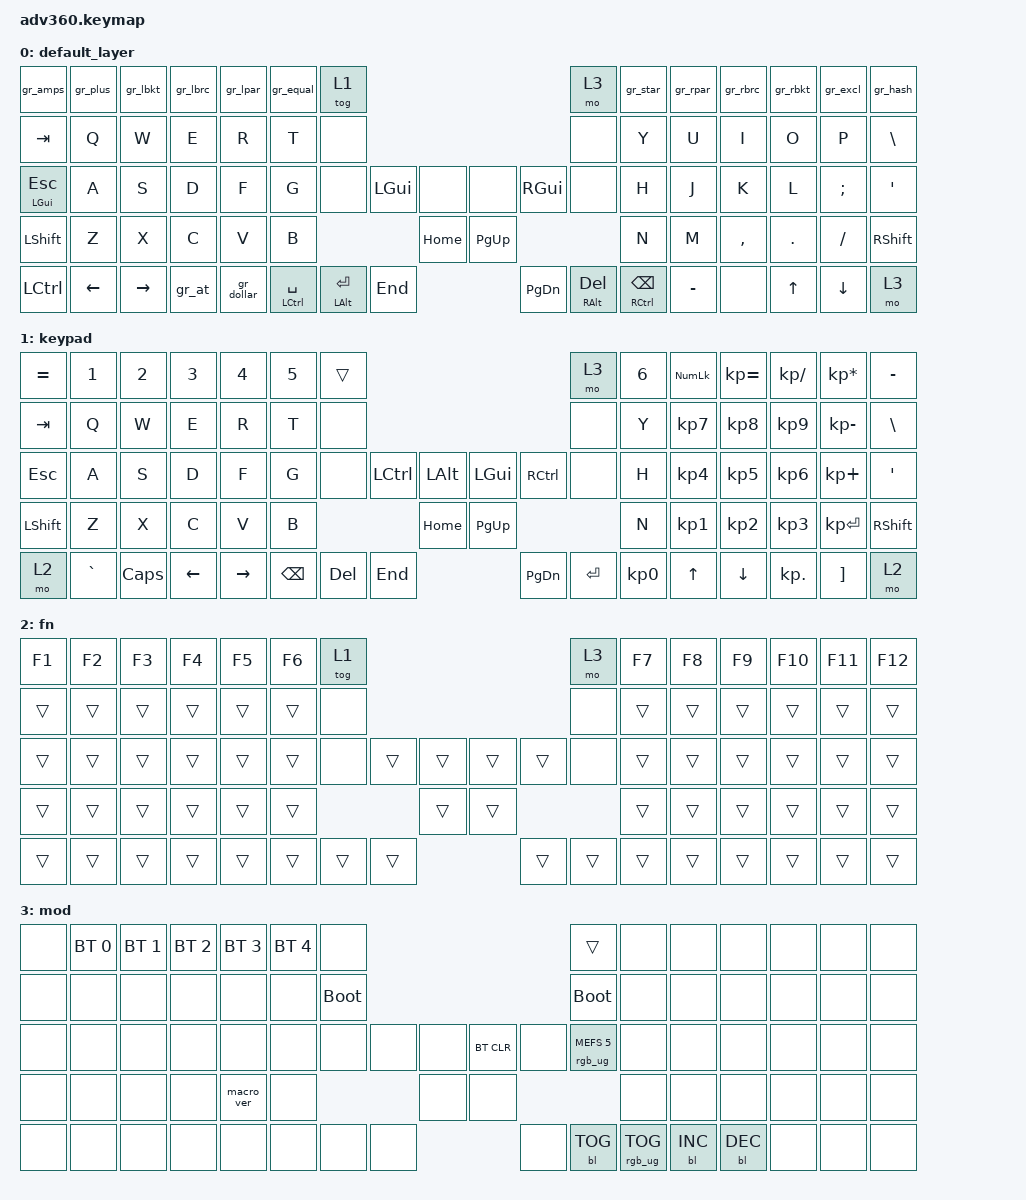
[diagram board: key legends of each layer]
#include <behaviors.dtsi>
#include <dt-bindings/zmk/keys.h>
#include <dt-bindings/zmk/bt.h>
#include <dt-bindings/zmk/rgb.h>
#include <dt-bindings/zmk/backlight.h>

/ {
  behaviors {
#include "macros.dtsi"
#include "version.dtsi"
#ifndef VERSION_MACRO
macro_ver: macro_ver {
  compatible = "zmk,behavior-macro";
  label = "macro_version";
  #binding-cells = <0>;
  bindings = <&kp RET>;
};
#endif

hm: homerow_mods {
  compatible = "zmk,behavior-hold-tap";
  label = "HOMEROW_MODS";
  #binding-cells = <2>;
  tapping-term-ms = <200>;
  quick_tap_ms = <175>;
  flavor = "tap-preferred";
  bindings = <&kp>, <&kp>;
};

/* Left side */

gr_amps: grave_ampersand {
  compatible = "zmk,behavior-mod-morph";
  #binding-cells = <0>;
  bindings = <&kp AMPS>, <&kp PERCENT>;
  mods = <(MOD_LSFT|MOD_RSFT)>;
};

gr_plus: grave_plus {
  compatible = "zmk,behavior-mod-morph";
  #binding-cells = <0>;
  bindings = <&kp PLUS>, <&kp NUMBER_7>;
  mods = <(MOD_LSFT|MOD_RSFT)>;
};

gr_lbkt: grave_left_bracket {
  compatible = "zmk,behavior-mod-morph";
  #binding-cells = <0>;
  bindings = <&kp LBKT>, <&kp NUMBER_5>;
  mods = <(MOD_LSFT|MOD_RSFT)>;
};

gr_lbrc: grave_left_brace {
  compatible = "zmk,behavior-mod-morph";
  #binding-cells = <0>;
  bindings = <&kp LBRC>, <&kp NUMBER_3>;
  mods = <(MOD_LSFT|MOD_RSFT)>;
};

gr_lpar: grave_left_parenthesis {
  compatible = "zmk,behavior-mod-morph";
  #binding-cells = <0>;
  bindings = <&kp LPAR>, <&kp NUMBER_1>;
  mods = <(MOD_LSFT|MOD_RSFT)>;
};

gr_equal: grave_equal {
  compatible = "zmk,behavior-mod-morph";
  #binding-cells = <0>;
  bindings = <&kp EQUAL>, <&kp NUMBER_9>;
  mods = <(MOD_LSFT|MOD_RSFT)>;
};

/* Right side */

gr_star: grave_star {
  compatible = "zmk,behavior-mod-morph";
  #binding-cells = <0>;
  bindings = <&kp STAR>, <&kp NUMBER_0>;
  mods = <(MOD_LSFT|MOD_RSFT)>;
};

gr_rpar: grave_right_parenthesis {
  compatible = "zmk,behavior-mod-morph";
  #binding-cells = <0>;
  bindings = <&kp RPAR>, <&kp NUMBER_2>;
  mods = <(MOD_LSFT|MOD_RSFT)>;
};

gr_rbrc: grave_right_brace {
  compatible = "zmk,behavior-mod-morph";
  #binding-cells = <0>;
  bindings = <&kp RBRC>, <&kp NUMBER_4>;
  mods = <(MOD_LSFT|MOD_RSFT)>;
};

gr_rbkt: grave_right_bracket {
  compatible = "zmk,behavior-mod-morph";
  #binding-cells = <0>;
  bindings = <&kp RBKT>, <&kp NUMBER_6>;
  mods = <(MOD_LSFT|MOD_RSFT)>;
};

gr_excl: grave_exclamation {
  compatible = "zmk,behavior-mod-morph";
  #binding-cells = <0>;
  bindings = <&kp EXCL>, <&kp NUMBER_8>;
  mods = <(MOD_LSFT|MOD_RSFT)>;
};

gr_hash: grave_hash {
  compatible = "zmk,behavior-mod-morph";
  #binding-cells = <0>;
  bindings = <&kp HASH>, <&kp GRAVE>;
  mods = <(MOD_LSFT|MOD_RSFT)>;
};

/* Others */

gr_dollar: grave_dollar {
  compatible = "zmk,behavior-mod-morph";
  #binding-cells = <0>;
  bindings = <&kp DOLLAR>, <&kp TILDE>;
  mods = <(MOD_LSFT|MOD_RSFT)>;
};

gr_at: grave_at {
  compatible = "zmk,behavior-mod-morph";
  #binding-cells = <0>;
  bindings = <&kp AT_SIGN>, <&kp CARET>;
  mods = <(MOD_LSFT|MOD_RSFT)>;
};

  };

  keymap {
    compatible = "zmk,keymap";

    default_layer {
      bindings = <
        &gr_amps      &gr_plus      &gr_lbkt     &gr_lbrc     &gr_lpar   &gr_equal  &tog 1                                                                                &mo 3     &gr_star   &gr_rpar   &gr_rbrc      &gr_rbkt     &gr_excl     &gr_hash
        &kp TAB       &kp Q         &kp W        &kp E        &kp R      &kp T      &none                                                                                 &none     &kp Y      &kp U      &kp I         &kp O        &kp P        &kp BSLH
        &mt LGUI ESC  &kp A         &kp S        &kp D        &kp F      &kp G      &none                  &kp LGUI       &none     &none     &kp RGUI                    &none     &kp H      &kp J      &kp K         &kp L        &kp SEMI     &kp SQT
        &kp LSHFT     &kp Z         &kp X        &kp C        &kp V      &kp B                                            &kp HOME  &kp PG_UP                                       &kp N      &kp M      &kp COMMA     &kp DOT      &kp FSLH     &kp RSHFT
        &kp LCTRL     &kp LEFT      &kp RIGHT    &gr_at       &gr_dollar                   &mt LCTRL SPACE &mt LALT ENTER &kp END   &kp PG_DN &mt RALT DEL &mt RCTRL BSPC                      &kp MINUS  &none         &kp UP       &kp DOWN     &mo 3
      >;
    };
    keypad {
      bindings = <
        &kp EQUAL &kp N1    &kp N2   &kp N3   &kp N4     &kp N5 &trans                                                           &mo 3 &kp N6 &kp KP_NUM &kp KP_EQUAL &kp KP_DIVIDE &kp KP_MULTIPLY &kp MINUS
        &kp TAB   &kp Q     &kp W    &kp E    &kp R      &kp T  &none                                                            &none &kp Y  &kp KP_N7  &kp KP_N8    &kp KP_N9     &kp KP_MINUS    &kp BSLH
        &kp ESC   &kp A     &kp S    &kp D    &kp F      &kp G  &none           &kp LCTRL &kp LALT &kp LGUI  &kp RCTRL           &none &kp H  &kp KP_N4  &kp KP_N5    &kp KP_N6     &kp KP_PLUS     &kp SQT
        &kp LSHFT &kp Z     &kp X    &kp C    &kp V      &kp B                            &kp HOME &kp PG_UP                           &kp N  &kp KP_N1  &kp KP_N2    &kp KP_N3     &kp KP_ENTER    &kp RSHFT
        &mo 2     &kp GRAVE &kp CAPS &kp LEFT &kp RIGHT                &kp BSPC &kp DEL   &kp END  &kp PG_DN &kp ENTER &kp KP_N0              &kp UP     &kp DOWN     &kp KP_DOT    &kp RBKT        &mo 2
      >;
    };
    fn {
      bindings = <
        &kp F1 &kp F2 &kp F3 &kp F4 &kp F5 &kp F6 &tog 1                                           &mo 3 &kp F7 &kp F8 &kp F9 &kp F10 &kp F11 &kp F12
        &trans &trans &trans &trans &trans &trans  &none                                           &none &trans &trans &trans &trans  &trans  &trans
        &trans &trans &trans &trans &trans &trans  &none        &trans &trans &trans &trans        &none &trans &trans &trans &trans  &trans  &trans
        &trans &trans &trans &trans &trans &trans                      &trans &trans                     &trans &trans &trans &trans  &trans  &trans
        &trans &trans &trans &trans &trans               &trans &trans &trans &trans &trans &trans              &trans &trans &trans  &trans  &trans
      >;
    };
    mod {
      bindings = <
        &none &bt BT_SEL 0 &bt BT_SEL 1 &bt BT_SEL 2 &bt BT_SEL 3 &bt BT_SEL 4 &none                                                                     &trans                 &none        &none        &none        &none &none &none
        &none &none        &none        &none        &none        &none        &bootloader                                                               &bootloader            &none        &none        &none        &none &none &none
        &none &none        &none        &none        &none        &none        &none                   &none &none &bt BT_CLR &none                      &rgb_ug RGB_MEFS_CMD 5 &none        &none        &none        &none &none &none
        &none &none        &none        &none        &macro_ver   &none                                      &none &none                                                        &none        &none        &none        &none &none &none
        &none &none        &none        &none        &none                                       &none &none &none &none      &bl BL_TOG &rgb_ug RGB_TOG                                     &bl BL_INC   &bl BL_DEC   &none &none &none
      >;
    };
  };
};
